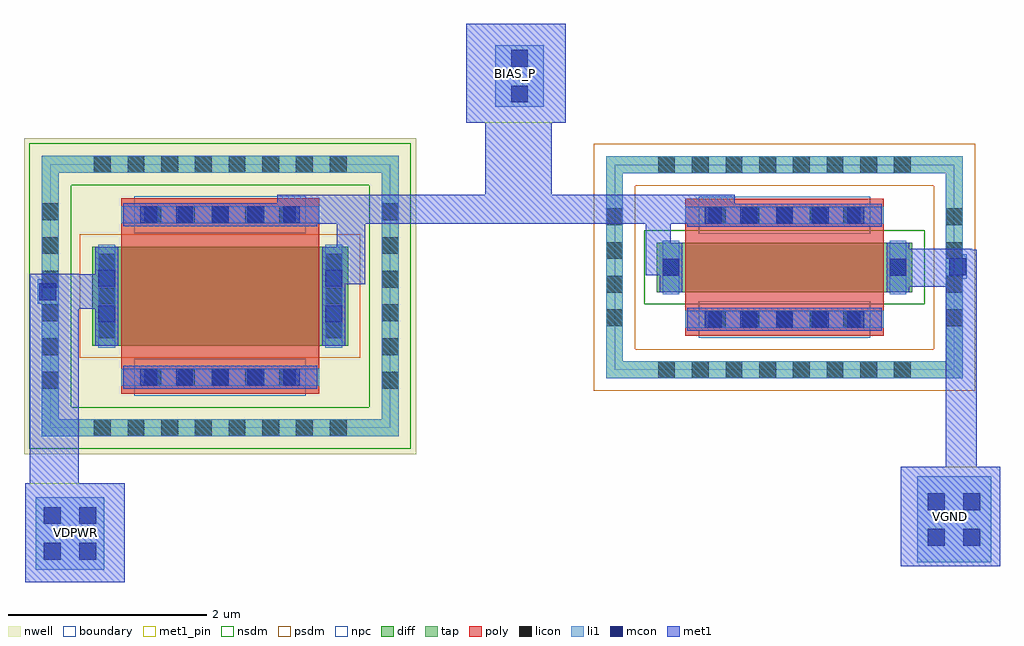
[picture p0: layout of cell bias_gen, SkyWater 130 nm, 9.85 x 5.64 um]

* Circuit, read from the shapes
.subckt bias_gen BIAS_P VDPWR VGND
XM1 VGND BIAS_P BIAS_P VGND sky130_fd_pr__nfet_01v8 w=0.5 l=2
XM2 BIAS_P BIAS_P VDPWR VDPWR sky130_fd_pr__pfet_01v8 w=1 l=2
.ends

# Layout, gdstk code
from math import pi, radians
import gdstk
lib = gdstk.Library(unit=1e-6, precision=1e-09)
def R(c, l, rs):  # rectangles x0, y0, x1, y1
    for r in rs: c.add(gdstk.rectangle(r[:2], r[2:], *l))
def A(c, l, x, y, w, h, nx, ny, dx, dy):  # array of equal rectangles
    R(c, l, [(x+i*dx, y+j*dy, x+i*dx+w, y+j*dy+h) for i in range(nx) for j in range(ny)])
nwell = (64, 20)
diff = (65, 20)
tap = (65, 44)
poly = (66, 20)
licon = (66, 44)
li1 = (67, 20)
mcon = (67, 44)
met1_pin = (68, 16)
met1 = (68, 20)
nsdm = (93, 44)
psdm = (94, 20)
npc = (95, 20)
boundary = (235, 4)

sky130_fd_pr__nfet_01v8_ = lib.new_cell('sky130_fd_pr__nfet_01v8_AAS3EU')
R(sky130_fd_pr__nfet_01v8_, diff, [(-1.29,-0.25,1.29,0.25)])
R(sky130_fd_pr__nfet_01v8_, tap, [(-1.8,-1.12,1.8,-0.95), (-1.8,-0.95,-1.63,0.95), (1.63,-0.95,1.8,0.95), (-1.8,0.95,1.8,1.12)])
R(sky130_fd_pr__nfet_01v8_, poly, [(-1,-0.69,1,0.69)])
A(sky130_fd_pr__nfet_01v8_, licon, -1.275, -1.12, 0.17, 0.17, 8, 2, 0.34, 2.07)
A(sky130_fd_pr__nfet_01v8_, licon, -0.765, -0.61, 0.17, 0.17, 5, 2, 0.34, 1.05)
A(sky130_fd_pr__nfet_01v8_, licon, -1.8, -0.595, 0.17, 0.17, 1, 4, 0, 0.34)
A(sky130_fd_pr__nfet_01v8_, licon, 1.63, -0.595, 0.17, 0.17, 1, 4, 0, 0.34)
R(sky130_fd_pr__nfet_01v8_, licon, [(-1.23,-0.085,-1.06,0.085), (1.06,-0.085,1.23,0.085)])
R(sky130_fd_pr__nfet_01v8_, li1, [(-1.8,-1.12,1.8,-0.95), (-1.8,-0.95,-1.63,0.95), (1.63,-0.95,1.8,0.95), (-1,-0.61,1,-0.44), (-1.23,-0.27,-1.06,0.27), (1.06,-0.27,1.23,0.27), (-1,0.44,1,0.61), (-1.8,0.95,1.8,1.12)])
A(sky130_fd_pr__nfet_01v8_, mcon, -0.805, -0.61, 0.17, 0.17, 5, 2, 0.36, 1.05)
R(sky130_fd_pr__nfet_01v8_, mcon, [(-1.23,-0.085,-1.06,0.085), (1.06,-0.085,1.23,0.085)])
R(sky130_fd_pr__nfet_01v8_, met1, [(-0.98,-0.64,0.98,-0.41), (-1.26,-0.25,-1.03,0.25), (1.03,-0.25,1.26,0.25), (-0.98,0.41,0.98,0.64)])
R(sky130_fd_pr__nfet_01v8_, nsdm, [(-1.415,-0.375,1.415,0.375)])
R(sky130_fd_pr__nfet_01v8_, psdm, [(-1.925,-1.245,1.925,-0.825), (-1.925,-0.825,-1.505,0.825), (1.505,-0.825,1.925,0.825), (-1.925,0.825,1.925,1.245)])
R(sky130_fd_pr__nfet_01v8_, npc, [(-0.865,-0.71,0.865,-0.34), (-0.865,0.34,0.865,0.71)])
R(sky130_fd_pr__nfet_01v8_, boundary, [(-1.715,-1.035,1.715,1.035)])
sky130_fd_pr__nfet_01v8_.add(gdstk.Label('G', (0,0.525), layer=67, texttype=5))
sky130_fd_pr__nfet_01v8_.add(gdstk.Label('S', (1.145,0), layer=67, texttype=5))
sky130_fd_pr__nfet_01v8_.add(gdstk.Label('D', (-1.145,0), layer=67, texttype=5))
sky130_fd_pr__nfet_01v8_.add(gdstk.Label('B', (0,-1.035), layer=67, texttype=5))

sky130_fd_pr__pfet_01v8_ = lib.new_cell('sky130_fd_pr__pfet_01v8_KLMCYL')
R(sky130_fd_pr__pfet_01v8_, nwell, [(-1.98,-1.595,1.98,1.595)])
R(sky130_fd_pr__pfet_01v8_, diff, [(-1.29,-0.5,1.29,0.5)])
R(sky130_fd_pr__pfet_01v8_, tap, [(-1.8,-1.415,1.8,-1.245), (-1.8,-1.245,-1.63,1.245), (1.63,-1.245,1.8,1.245), (-1.8,1.245,1.8,1.415)])
R(sky130_fd_pr__pfet_01v8_, poly, [(-1,-0.985,1,0.985)])
A(sky130_fd_pr__pfet_01v8_, licon, -1.275, -1.415, 0.17, 0.17, 8, 2, 0.34, 2.66)
A(sky130_fd_pr__pfet_01v8_, licon, -1.8, -0.935, 0.17, 0.17, 1, 6, 0, 0.34)
A(sky130_fd_pr__pfet_01v8_, licon, 1.63, -0.935, 0.17, 0.17, 1, 6, 0, 0.34)
A(sky130_fd_pr__pfet_01v8_, licon, -0.765, -0.905, 0.17, 0.17, 5, 2, 0.34, 1.64)
A(sky130_fd_pr__pfet_01v8_, licon, -1.23, -0.425, 0.17, 0.17, 1, 3, 0, 0.34)
A(sky130_fd_pr__pfet_01v8_, licon, 1.06, -0.425, 0.17, 0.17, 1, 3, 0, 0.34)
R(sky130_fd_pr__pfet_01v8_, li1, [(-1.8,-1.415,1.8,-1.245), (-1.8,-1.245,-1.63,1.245), (1.63,-1.245,1.8,1.245), (-1,-0.905,1,-0.735), (-1.23,-0.52,-1.06,0.52), (1.06,-0.52,1.23,0.52), (-1,0.735,1,0.905), (-1.8,1.245,1.8,1.415)])
A(sky130_fd_pr__pfet_01v8_, mcon, -0.805, -0.905, 0.17, 0.17, 5, 2, 0.36, 1.64)
R(sky130_fd_pr__pfet_01v8_, mcon, [(-1.23,-0.265,-1.06,-0.095), (1.06,-0.265,1.23,-0.095), (-1.23,0.095,-1.06,0.265), (1.06,0.095,1.23,0.265)])
R(sky130_fd_pr__pfet_01v8_, met1, [(-0.98,-0.935,0.98,-0.705), (-1.26,-0.5,-1.03,0.5), (1.03,-0.5,1.26,0.5), (-0.98,0.705,0.98,0.935)])
R(sky130_fd_pr__pfet_01v8_, nsdm, [(-1.925,-1.54,1.925,-1.12), (-1.925,-1.12,-1.505,1.12), (1.505,-1.12,1.925,1.12), (-1.925,1.12,1.925,1.54)])
R(sky130_fd_pr__pfet_01v8_, psdm, [(-1.415,-0.625,1.415,0.625)])
R(sky130_fd_pr__pfet_01v8_, npc, [(-0.865,-1.005,0.865,-0.635), (-0.865,0.635,0.865,1.005)])
R(sky130_fd_pr__pfet_01v8_, boundary, [(-1.715,-1.33,1.715,1.33)])
sky130_fd_pr__pfet_01v8_.add(gdstk.Label('G', (0,0.82), layer=67, texttype=5))
sky130_fd_pr__pfet_01v8_.add(gdstk.Label('S', (1.145,0), layer=67, texttype=5))
sky130_fd_pr__pfet_01v8_.add(gdstk.Label('D', (-1.145,0), layer=67, texttype=5))
sky130_fd_pr__pfet_01v8_.add(gdstk.Label('B', (0,-1.33), layer=67, texttype=5))

bias_gen = lib.new_cell('bias_gen')
R(bias_gen, li1, [(-0.145,-5.18,0.545,-4.45), (8.75,-5.105,9.495,-4.24), (-0.125,-2.5,0.075,-2.25), (9.075,-2.245,9.25,-2), (4.49,-0.51,4.98,0.11)])
R(bias_gen, mcon, [(-0.065,-5.08,0.105,-4.91), (0.295,-5.08,0.465,-4.91), (8.855,-4.94,9.025,-4.77), (9.215,-4.94,9.385,-4.77), (-0.065,-4.72,0.105,-4.55), (0.295,-4.72,0.465,-4.55), (8.855,-4.58,9.025,-4.41), (9.215,-4.58,9.385,-4.41), (-0.11,-2.46,0.06,-2.29), (9.075,-2.21,9.245,-2.04), (4.65,-0.465,4.82,-0.295), (4.65,-0.105,4.82,0.065)])
R(bias_gen, met1_pin, [(-0.25,-5.31,0.75,-4.31), (8.585,-5.145,9.585,-4.145), (4.2,-0.67,5.2,0.33)])
R(bias_gen, met1, [(-0.25,-5.31,0.75,-4.31), (8.585,-5.145,9.585,-4.145), (-0.205,-4.31,0.29,-2.55), (9.04,-4.145,9.35,-2.325), (-0.205,-2.55,0.65,-2.2), (8.445,-2.325,9.35,-1.955), (2.89,-2.3,3.18,-1.69), (6.01,-2.21,6.26,-1.69), (-0.205,-2.2,0.29,-2.195), (8.445,-1.955,9.305,-1.94), (2.29,-1.69,6.91,-1.4), (4.39,-1.4,5.06,-0.67), (4.2,-0.67,5.2,0.33)])
bias_gen.add(gdstk.Reference(sky130_fd_pr__nfet_01v8_, (7.41,-2.13)))
bias_gen.add(gdstk.Reference(sky130_fd_pr__pfet_01v8_, (1.715,-2.42), rotation=pi))
bias_gen.add(gdstk.Label('VGND', (9.085,-4.645), layer=68, texttype=5))
bias_gen.add(gdstk.Label('VDPWR', (0.25,-4.81), layer=68, texttype=5))
bias_gen.add(gdstk.Label('BIAS_P', (4.7,-0.17), layer=68, texttype=5))

lib.write_gds('bias_gen.gds')
